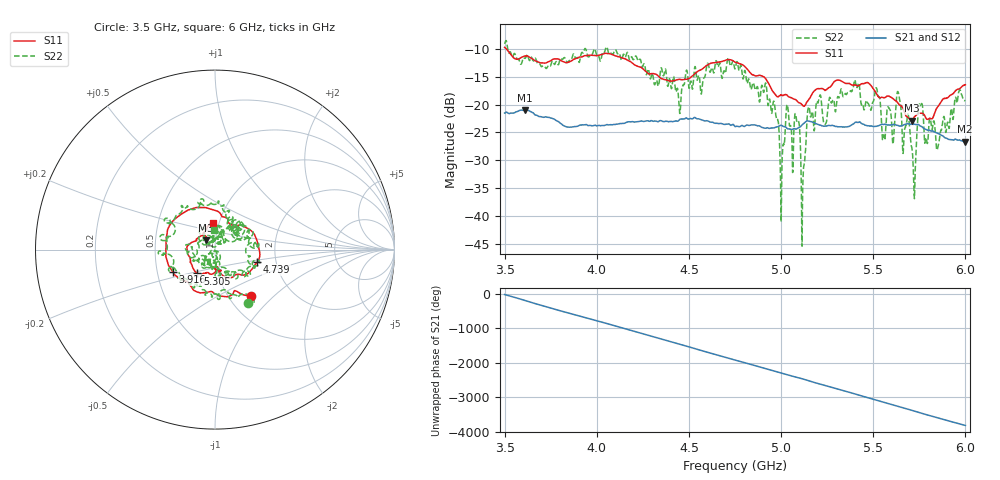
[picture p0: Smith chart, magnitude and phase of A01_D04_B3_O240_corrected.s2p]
! Created with skrf 1.9.0 (http://scikit-rf.org).
# Hz S RI R 50.0
!freq ReS11 ImS11 ReS21 ImS21 ReS12 ImS12 ReS22 ImS22
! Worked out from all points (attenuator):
!   1601 points, 3.5 GHz to 6 GHz, reference 50 ohm
!   highest |S21| = -20.98 dB at 3.609 GHz (marker M1); lowest = -26.7 dB at 5.998 GHz (marker M2)
!   lowest |S11| = -22.9 dB at 5.708 GHz (marker M3), VSWR 1.15, Z = 45 + j4.64 ohm
!   |S11| at or under -10 dB: 3.508 GHz to end of sweep
!   |S22| runs from -45.3 to -8.6 dB; largest |S21 - S12| = 0.0012
!   S11 on the Smith chart (normalised r, x): 3.5 GHz: 1.26, -0.72; 3.916 GHz: 0.60, -0.16; 4.739 GHz: 1.60, -0.24; 5.305 GHz: 0.80, -0.22; 6 GHz: 0.93, +0.29
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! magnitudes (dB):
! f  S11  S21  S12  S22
! 3.5 GHz  -9.8  -21.5  -21.5  -9.2
! 3.609 GHz  -11.3  -21.0  -21.0  -11.8
! 3.916 GHz  -11.5  -23.7  -23.6  -11.0
! 3.917 GHz  -11.5  -23.7  -23.6  -10.8
! 4.334 GHz  -14.9  -23.1  -23.0  -16.7
! 4.739 GHz  -12.2  -23.5  -23.6  -12.2
! 4.75 GHz  -12.4  -23.9  -23.8  -13.6
! 4.911 GHz  -15.2  -24.2  -24.2  -16.9
! 5.005 GHz  -18.3  -23.8  -23.7  -31.1
! 5.033 GHz  -18.3  -24.3  -24.2  -20.0
! 5.086 GHz  -19.3  -24.3  -24.3  -23.1
! 5.119 GHz  -20.2  -23.5  -23.4  -33.4
! 5.167 GHz  -18.1  -23.1  -23.1  -21.3
! 5.305 GHz  -15.6  -23.9  -23.9  -18.9
! 5.584 GHz  -18.5  -23.7  -23.6  -20.5
! 5.638 GHz  -19.9  -23.8  -23.7  -18.0
! 5.708 GHz  -22.9  -23.5  -23.5  -27.5
! 5.725 GHz  -22.1  -23.5  -23.4  -35.3
! 5.756 GHz  -21.6  -23.8  -23.7  -20.4
! 5.85 GHz  -20.4  -25.2  -25.1  -27.7
! 5.998 GHz  -16.5  -26.7  -26.6  -19.3
! 6 GHz  -16.5  -26.7  -26.6  -19.3
